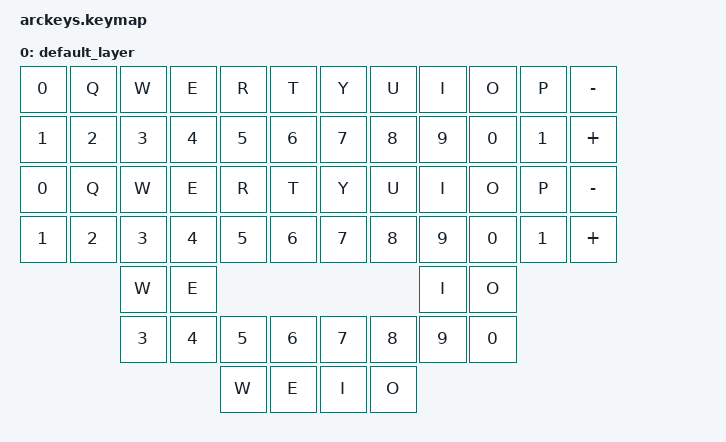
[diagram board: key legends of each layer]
#include <behaviors.dtsi>
#include <dt-bindings/zmk/keys.h>
#include <dt-bindings/zmk/bt.h>

#define DEFAULT 0

/ {
	combos {
		compatible = "zmk,combos";
	};

	behaviors {
		tdc: tap_dance_comma {
			compatible = "zmk,behavior-tap-dance";
            #binding-cells = <0>;
			tapping-term-ms = <200>;
			bindings = <&kp DOT>, <&kp COMMA>;
		};
	};

    keymap {
        compatible = "zmk,keymap";

        default_layer {
            bindings = <
                &kp N0  &kp Q   &kp W   &kp E   &kp R   &kp T       &kp Y   &kp U   &kp I   &kp O   &kp P   &kp MINUS
                &kp N1  &kp N2  &kp N3  &kp N4  &kp N5  &kp N6      &kp N7  &kp N8  &kp N9  &kp N0  &kp N1  &kp PLUS
                &kp N0  &kp Q   &kp W   &kp E   &kp R   &kp T       &kp Y   &kp U   &kp I   &kp O   &kp P   &kp MINUS
                &kp N1  &kp N2  &kp N3  &kp N4  &kp N5  &kp N6      &kp N7  &kp N8  &kp N9  &kp N0  &kp N1  &kp PLUS
                                &kp W   &kp E                                       &kp I   &kp O
                                &kp N3  &kp N4  &kp N5  &kp N6      &kp N7  &kp N8  &kp N9  &kp N0
                                                &kp W   &kp E       &kp I   &kp O
            >;
        };
    };
};
